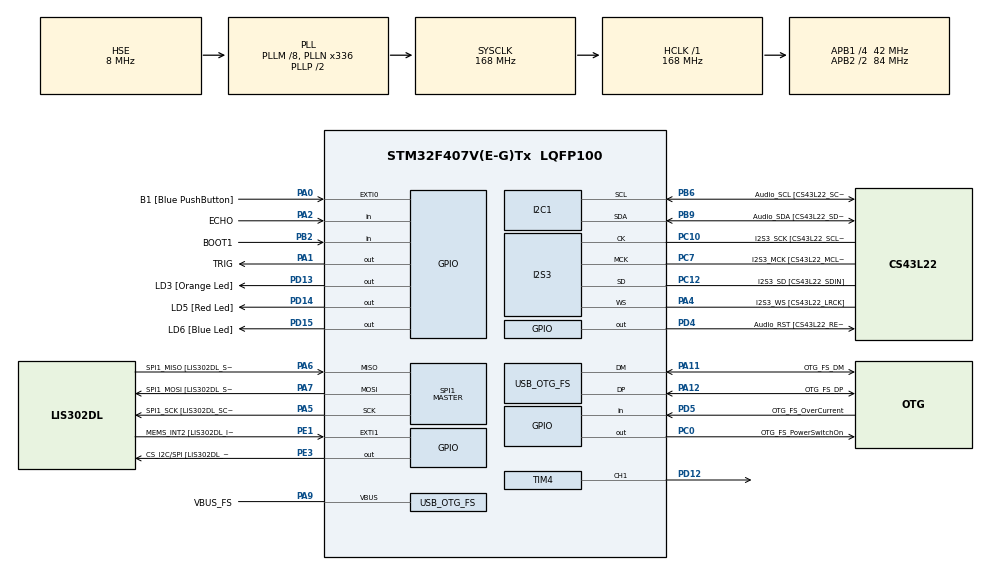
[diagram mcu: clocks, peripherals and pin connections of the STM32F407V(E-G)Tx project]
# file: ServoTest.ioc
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I2S3.AudioFreq-Half_Duplex_Master=I2S_AUDIOFREQ_96K
I2S3.ErrorAudioFreq=-2.34 %
I2S3.ErrorAudioFreq-Half_Duplex_Master=0.8 %
I2S3.FullDuplexMode=I2S_FULLDUPLEXMODE_DISABLE
I2S3.Instance=SPI$Index
I2S3.RealAudioFreq=93.75 KHz
I2S3.RealAudioFreq-Half_Duplex_Master=96.774 KHz
I2S3.VirtualMode=I2S_MODE_MASTER
Mcu.Family=STM32F4
Mcu.Name=STM32F407V(E-G)Tx
Mcu.Package=LQFP100
NVIC.OTG_FS_IRQn=true\:0\:0\:false\:false\:true\:true\:true\:true
NVIC.PriorityGroup=NVIC_PRIORITYGROUP_0
PA0-WKUP.GPIO_Label=B1 [Blue PushButton]
PA0-WKUP.GPIO_ModeDefaultEXTI=GPIO_MODE_EVT_RISING
PA0-WKUP.GPIO_PuPd=GPIO_NOPULL
PA0-WKUP.Signal=GPXTI0
PA1.GPIO_Label=TRIG
PA1.Signal=GPIO_Output
PA10.GPIO_Label=OTG_FS_ID
PA10.GPIO_Mode=GPIO_MODE_AF_PP
PA10.GPIO_PuPd=GPIO_NOPULL
PA10.GPIO_Speed=GPIO_SPEED_FREQ_LOW
PA10.Signal=USB_OTG_FS_ID
PA11.GPIO_Label=OTG_FS_DM
PA11.GPIO_Mode=GPIO_MODE_AF_PP
PA11.GPIO_PuPd=GPIO_NOPULL
PA11.GPIO_Speed=GPIO_SPEED_FREQ_LOW
PA11.Mode=Host_Only
PA11.Signal=USB_OTG_FS_DM
PA12.GPIO_Label=OTG_FS_DP
PA12.GPIO_Mode=GPIO_MODE_AF_PP
PA12.GPIO_PuPd=GPIO_NOPULL
PA12.GPIO_Speed=GPIO_SPEED_FREQ_LOW
PA12.Mode=Host_Only
PA12.Signal=USB_OTG_FS_DP
PA13.GPIO_Label=SWDIO
PA13.Mode=Serial_Wire
PA13.Signal=SYS_JTMS-SWDIO
PA14.GPIO_Label=SWCLK
PA14.Mode=Serial_Wire
PA14.Signal=SYS_JTCK-SWCLK
PA2.GPIO_Label=ECHO
PA2.Signal=GPIO_Input
PA4.GPIO_Label=I2S3_WS [CS43L22_LRCK]
PA4.GPIO_Mode=GPIO_MODE_AF_PP
PA4.GPIO_PuPd=GPIO_NOPULL
PA4.GPIO_Speed=GPIO_SPEED_FREQ_LOW
PA4.Mode=Half_Duplex_Master
PA4.Signal=I2S3_WS
PA5.GPIO_Label=SPI1_SCK [LIS302DL_SCL/SPC]
PA5.GPIO_Mode=GPIO_MODE_AF_PP
PA5.GPIO_PuPd=GPIO_NOPULL
PA5.GPIO_Speed=GPIO_SPEED_FREQ_LOW
PA5.Mode=Full_Duplex_Master
PA5.Signal=SPI1_SCK
PA6.GPIO_Label=SPI1_MISO [LIS302DL_SDO]
PA6.GPIO_Mode=GPIO_MODE_AF_PP
PA6.GPIO_PuPd=GPIO_NOPULL
PA6.GPIO_Speed=GPIO_SPEED_FREQ_LOW
PA6.Mode=Full_Duplex_Master
PA6.Signal=SPI1_MISO
PA7.GPIO_Label=SPI1_MOSI [LIS302DL_SDA/SDI/SDO]
PA7.GPIO_Mode=GPIO_MODE_AF_PP
PA7.GPIO_PuPd=GPIO_NOPULL
PA7.GPIO_Speed=GPIO_SPEED_FREQ_LOW
PA7.Mode=Full_Duplex_Master
PA7.Signal=SPI1_MOSI
PA9.GPIO_Label=VBUS_FS
PA9.GPIO_Mode=GPIO_MODE_INPUT
PA9.GPIO_PuPd=GPIO_NOPULL
PA9.Mode=Activate_VBUS
PA9.Signal=USB_OTG_FS_VBUS
PB10.GPIO_Label=CLK_IN [MP45DT02_CLK]
PB10.GPIO_Mode=GPIO_MODE_AF_PP
PB10.GPIO_PuPd=GPIO_NOPULL
PB10.GPIO_Speed=GPIO_SPEED_FREQ_LOW
PB10.Signal=I2S2_CK
PB2.GPIO_Label=BOOT1
PB2.GPIO_Mode=GPIO_MODE_INPUT
PB2.GPIO_PuPd=GPIO_NOPULL
PB2.Signal=GPIO_Input
PB3.GPIO_Label=SWO
PB3.Signal=SYS_JTDO-SWO
PB6.GPIO_Label=Audio_SCL [CS43L22_SCL]
PB6.GPIO_Mode=GPIO_MODE_AF_OD
PB6.GPIO_Pu=GPIO_PULLUP
PB6.GPIO_PuPd=GPIO_NOPULL
PB6.GPIO_Speed=GPIO_SPEED_FREQ_LOW
PB6.Mode=I2C
PB6.Signal=I2C1_SCL
PB9.GPIO_Label=Audio_SDA [CS43L22_SDA]
PB9.GPIO_Mode=GPIO_MODE_AF_OD
PB9.GPIO_Pu=GPIO_PULLUP
PB9.GPIO_PuPd=GPIO_NOPULL
PB9.GPIO_Speed=GPIO_SPEED_FREQ_LOW
PB9.Mode=I2C
PB9.Signal=I2C1_SDA
PC0.GPIO_Label=OTG_FS_PowerSwitchOn
PC0.GPIO_PuPd=GPIO_NOPULL
PC0.GPIO_Speed=GPIO_SPEED_FREQ_LOW
PC0.PinState=GPIO_PIN_SET
PC0.Signal=GPIO_Output
PC10.GPIO_Label=I2S3_SCK [CS43L22_SCLK]
PC10.GPIO_Mode=GPIO_MODE_AF_PP
PC10.GPIO_PuPd=GPIO_NOPULL
PC10.GPIO_Speed=GPIO_SPEED_FREQ_LOW
PC10.Mode=Half_Duplex_Master
PC10.Signal=I2S3_CK
PC12.GPIO_Label=I2S3_SD [CS43L22_SDIN]
PC12.GPIO_Mode=GPIO_MODE_AF_PP
PC12.GPIO_PuPd=GPIO_NOPULL
PC12.GPIO_Speed=GPIO_SPEED_FREQ_LOW
PC12.Mode=Half_Duplex_Master
PC12.Signal=I2S3_SD
PC14-OSC32_IN.GPIO_Label=PC14-OSC32_IN
PC14-OSC32_IN.Mode=LSE-External-Oscillator
PC14-OSC32_IN.Signal=RCC_OSC32_IN
PC15-OSC32_OUT.GPIO_Label=PC15-OSC32_OUT
PC15-OSC32_OUT.Mode=LSE-External-Oscillator
PC15-OSC32_OUT.Signal=RCC_OSC32_OUT
PC3.GPIO_Label=PDM_OUT [MP45DT02_DOUT]
PC3.GPIO_Mode=GPIO_MODE_AF_PP
PC3.GPIO_PuPd=GPIO_NOPULL
PC3.GPIO_Speed=GPIO_SPEED_FREQ_LOW
PC3.Signal=I2S2_SD
PC7.GPIO_Label=I2S3_MCK [CS43L22_MCLK]
PC7.GPIO_Mode=GPIO_MODE_AF_PP
PC7.GPIO_PuPd=GPIO_NOPULL
PC7.GPIO_Speed=GPIO_SPEED_FREQ_LOW
PC7.Mode=Master_Clock_Activated
PC7.Signal=I2S3_MCK
PD12.Signal=S_TIM4_CH1
PD13.GPIO_Label=LD3 [Orange Led]
PD13.GPIO_PuPd=GPIO_NOPULL
PD13.GPIO_Speed=GPIO_SPEED_FREQ_LOW
PD13.Signal=GPIO_Output
PD14.GPIO_Label=LD5 [Red Led]
PD14.GPIO_PuPd=GPIO_NOPULL
PD14.GPIO_Speed=GPIO_SPEED_FREQ_LOW
PD14.Signal=GPIO_Output
PD15.GPIO_Label=LD6 [Blue Led]
PD15.GPIO_PuPd=GPIO_NOPULL
PD15.GPIO_Speed=GPIO_SPEED_FREQ_LOW
PD15.Signal=GPIO_Output
PD4.GPIO_Label=Audio_RST [CS43L22_RESET]
PD4.GPIO_PuPd=GPIO_NOPULL
PD4.GPIO_Speed=GPIO_SPEED_FREQ_LOW
PD4.Signal=GPIO_Output
PD5.GPIO_Label=OTG_FS_OverCurrent
PD5.GPIO_Mode=GPIO_MODE_INPUT
PD5.GPIO_PuPd=GPIO_NOPULL
PD5.Signal=GPIO_Input
PE1.GPIO_Label=MEMS_INT2 [LIS302DL_INT2]
PE1.GPIO_ModeDefaultEXTI=GPIO_MODE_EVT_RISING
PE1.GPIO_PuPd=GPIO_NOPULL
PE1.Signal=GPXTI1
PE3.GPIO_Label=CS_I2C/SPI [LIS302DL_CS_I2C/SPI]
PE3.GPIO_PuPd=GPIO_NOPULL
PE3.GPIO_Speed=GPIO_SPEED_FREQ_LOW
PE3.Signal=GPIO_Output
PH0-OSC_IN.GPIO_Label=PH0-OSC_IN
PH0-OSC_IN.Mode=HSE-External-Oscillator
PH0-OSC_IN.Signal=RCC_OSC_IN
PH1-OSC_OUT.GPIO_Label=PH1-OSC_OUT
PH1-OSC_OUT.Mode=HSE-External-Oscillator
PH1-OSC_OUT.Signal=RCC_OSC_OUT
ProjectManager.HeapSize=0x200
ProjectManager.StackSize=0x400
ProjectManager.TargetToolchain=STM32CubeIDE
RCC.48MHZClocksFreq_Value=48000000
RCC.AHBFreq_Value=168000000
RCC.APB1CLKDivider=RCC_HCLK_DIV4
RCC.APB1Freq_Value=42000000
RCC.APB1TimFreq_Value=84000000
RCC.APB2CLKDivider=RCC_HCLK_DIV2
RCC.APB2Freq_Value=84000000
RCC.APB2TimFreq_Value=168000000
RCC.CortexFreq_Value=168000000
RCC.HCLKFreq_Value=168000000
RCC.HSE_VALUE=8000000
RCC.HSI_VALUE=16000000
RCC.PLLM=8
RCC.PLLN=336
RCC.PLLQ=7
RCC.SYSCLKFreq_VALUE=168000000
RCC.SYSCLKSource=RCC_SYSCLKSOURCE_PLLCLK
RCC.VCOOutputFreq_Value=336000000
SH.S_TIM4_CH1.0=TIM4_CH1,PWM Generation1 CH1
SPI1.BaudRatePrescaler-Full_Duplex_Master=SPI_BAUDRATEPRESCALER_2
SPI1.CalculateBaudRate-Full_Duplex_Master=42.0 MBits/s
SPI1.Direction=SPI_DIRECTION_2LINES
SPI1.Mode=SPI_MODE_MASTER
SPI1.Mode-Full_Duplex_Master=SPI_MODE_MASTER
SPI1.VirtualType=VM_MASTER
TIM3.Prescaler=83
TIM4.Channel-PWM\ Generation1\ CH1=TIM_CHANNEL_1
TIM4.Period=19999
TIM4.Prescaler=83
USB_HOST.BSP.number=1
USB_HOST.USBH_HandleTypeDef-CDC_FS=hUsbHostFS
USB_HOST.VirtualModeFS=Cdc
USB_HOST0.BSP.STBoard=false
USB_HOST0.BSP.api=Unknown
USB_HOST0.BSP.instance=PC0
USB_HOST0.BSP.ip=GPIO
USB_HOST0.BSP.mode=Output
USB_HOST0.BSP.name=Drive_VBUS_FS
USB_HOST0.BSP.solution=PC0
USB_OTG_FS.VirtualMode=Host_Only
USB_OTG_FS.phy_itface=HCD_PHY_EMBEDDED
VP_TIM3_VS_ClockSourceINT.Mode=Internal
VP_TIM4_VS_ClockSourceINT.Mode=Internal
VP_USB_HOST_VS_USB_HOST_CDC_FS.Mode=CDC_FS
board=STM32F407G-DISC1

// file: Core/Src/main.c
/* USER CODE BEGIN Header */
/**
  ******************************************************************************
  * @file           : main.c
  * @brief          : Main program body
  ******************************************************************************
  * @attention
  *
  * Copyright (c) 2026 STMicroelectronics.
  * All rights reserved.
  *
  * This software is licensed under terms that can be found in the LICENSE file
  * in the root directory of this software component.
  * If no LICENSE file comes with this software, it is provided AS-IS.
  *
  ******************************************************************************
  */
/* USER CODE END Header */
#include "main.h"
#include "usb_host.h"

I2C_HandleTypeDef hi2c1;

I2S_HandleTypeDef hi2s3;

SPI_HandleTypeDef hspi1;

TIM_HandleTypeDef htim3;
TIM_HandleTypeDef htim4;

/* USER CODE BEGIN PV */

// buradaki pv = private variables. bu bloğun içinde global değişkenler olur.

uint32_t sure = 0;		//(u- unsigned, int, 32_t - işlemciye 32 bitlik = 4 byte yer ayır deriz(ms cinsinden old. için büyük yer ayırttık.)).

volatile uint16_t mesafe = 0; // volatile = her an değişebilir demek.

//volatile yazılmasaydı compiler, değişkeni cpu registerında tutar, ram e yazmaz.
//sensor mesafeyi hesaplar, registerdaki değer güncellenir ama ram e yazılmadığı için live exp. hep 0 görünür.

/* USER CODE END PV */

void SystemClock_Config(void);
static void MX_GPIO_Init(void);
static void MX_I2C1_Init(void);
static void MX_I2S3_Init(void);
static void MX_SPI1_Init(void);
static void MX_TIM4_Init(void);
static void MX_TIM3_Init(void);
void MX_USB_HOST_Process(void);

/* USER CODE BEGIN 0 */

#include <stdio.h> //prinf kullanabilmek için

int _write(int file, char *ptr, int len) { // override ediyor.
	//normalde printf yazıyı sadece formatlar ama yazıyı ekrana basamaz
	//bunun için arka planda _write isimli çok alt seviye bir komutunu çağırır.
	//char *ptr = gönderilecek karakter dizisinin hafızadaki başlangıç adresini tutar. (pointer)
	//len = gönderilecek yazının kaç harf (byte) old. tutar.

	for(int i = 0; i < len; i++) {
		ITM_SendChar((*ptr++));
		// donanımsal debug modülünün komutu, veriyi st-link kablosu üzerinden cube ide konsoluna fırlatır
		//kelime bitene kadar pointerdaki adresteki harfi alır gönderir ve sonra sonraki harfe geçer.
	}
	return len; // len kadar karakter başarıyla gönderildi demek
}

void delay_us (uint16_t us) //direkt HAL_Delay(1); yazılsa bile çok uzun sürer ondan mikrosaniye cinsinden
{
    __HAL_TIM_SET_COUNTER(&htim3, 0); // kronometreyi sıfırla
    while (__HAL_TIM_GET_COUNTER(&htim3) < us); // istenen süre kadar bekle (şart bozulunca döngüden çıkar)
}

/* USER CODE END 0 */

int main(void)
{

  /* MCU Configuration--------------------------------------------------------*/

  /* Reset of all peripherals, Initializes the Flash interface and the Systick. */
  HAL_Init();

  /* Configure the system clock */
  SystemClock_Config();

  /* Initialize all configured peripherals */
  MX_GPIO_Init();
  MX_I2C1_Init();
  MX_I2S3_Init();
  MX_SPI1_Init();
  MX_USB_HOST_Init();
  MX_TIM4_Init();
  MX_TIM3_Init();

  /* USER CODE BEGIN 2 */

  //tim4  ch1 - servoya bağlı pd12 pini
  HAL_TIM_PWM_Start(&htim4, TIM_CHANNEL_1); // TIM4'un 1. kanalından PWM sinyalini baslat

  // pulse width = 1500 (1500 mikro saniye = 1.5 ms iken motor 90 derecede olur = tam ortası)
  __HAL_TIM_SET_COMPARE(&htim4, TIM_CHANNEL_1, 1500); // motora başlangıç noktasına gitmesi söylenir.
  HAL_Delay(1000); // oraya gitmesi ve beklemesi için 1 saniye zaman tanı

  HAL_TIM_Base_Start(&htim3);               // ms kronometresi çalışmaya hazır
  // bu base start komutunu en başta çalıştırmazsak kronometre uykuda kalır.
  // arkaplanda rcc = reset and clock control, clock enable bit = 1 (enerji artık timer3 e ulaşır.)
  // enerji geldikten sonra hemen saymaya başlamaz, başlatan fiziksel tetik:
  // timer3'ün içindeki cr1 (control register1)'in içindeki cen(counter enable) bitini 0dan 1e çeker.

  /* USER CODE END 2 */

  /* Infinite loop */
  /* USER CODE BEGIN WHILE */

    int aci = 0;

    uint32_t zaman_asimi = 0; // dongu sonsuza kadar kilitlenmesin diye güvenlik için

  while (1)
  {

/*
	  // Sadece servoya git-gel hareketi yaptırmak için:

	  // motoru yaklaşık 45 dereceden 135 dereceye (1000'den 2000'e) (güvenli sınırlar) dogru tarat => tepe sinyali 0.5 ms ise 0 derece; tepe sinyali 1.5 ms ise 90 derece; tepe sinyali 2.5 ms ise 180 derece;
	  	  for ( aci = 500; aci <= 2500; aci += 20)
	  	  {
	  		  __HAL_TIM_SET_COMPARE(&htim4, TIM_CHANNEL_1, aci); // motora aci degerini gonder
	  		  HAL_Delay(30); // hareketin tamamlanmasi icin kisa bir sure bekle (hizi belirler)
	  	  }

	  	  HAL_Delay(500); // 180 dereceye ulasınca yarım saniye bekle

	  	  // Motoru 180 dereceden 0 dereceye dogru geri tarat
	  	  for ( aci = 2500; aci >= 500; aci -= 20)
	  	  {
	  		  __HAL_TIM_SET_COMPARE(&htim4, TIM_CHANNEL_1, aci); // motora aci degerini gonder
	  		  HAL_Delay(30);
	  	  }

	  	  HAL_Delay(500); // 0 dereceye ulasinca yarim saniye bekle
*/

	  /*

	  ///Ultrasonik sensörden veri alabilmek için (Motor sabitken/kilitli.):

      __HAL_TIM_SET_COMPARE(&htim4, TIM_CHANNEL_1, 1500); // motoru merkezde kilitli tut
      // sensörü tetikleme = kare dalga biçimi için (kare dalga olmasaydı sensor kendi yankısıyla eski yankıları karıştırırdı.):
	  HAL_GPIO_WritePin(TRIG_GPIO_Port, TRIG_Pin, GPIO_PIN_SET); // elektiriği aç
	  delay_us(10);												// 10 ms açık tut
	  HAL_GPIO_WritePin(TRIG_GPIO_Port, TRIG_Pin, GPIO_PIN_RESET); // elektriği kes

	  while (HAL_GPIO_ReadPin(ECHO_GPIO_Port, ECHO_Pin) == GPIO_PIN_RESET) { // sinyalin 1 olmasının yani echonun başlamasını bekle

	  	zaman_asimi++;
	       	if (zaman_asimi > 500000) break; // sinyalin uzun süre gelmemesi durumu (güvenlik kilidi gibi düşün)
        	}

	        if (zaman_asimi <= 500000) { //sinyal zaman asımsız basarıyla geldiyse

	        	__HAL_TIM_SET_COUNTER(&htim3, 0); //kronometreyi sıfırla

				zaman_asimi = 0;

				while(HAL_GPIO_ReadPin(ECHO_GPIO_Port, ECHO_Pin) == GPIO_PIN_SET) {
					zaman_asimi++;
					if(zaman_asimi > 500000) break;
				}

			sure = __HAL_TIM_GET_COUNTER(&htim3);
			mesafe = sure * 0.0343 / 2; //cm olarak hesaplama formulu (ses hızına göre)

	        } else {
	        	mesafe = 999; // sinyal hiç gelmedi hatası (direkt donmasındansa 999 yazdırsın ki ne olduğunu anlayabilelim.)
	        }

	        printf("Mesafe : %d cm\r\n", mesafe); //SWV konsoluna yazdırmak için.
	        HAL_Delay(200);

*/

	  // Servo 0-180 arasını git-gel şeklinde tararken ultrasonikten veri alma ve yazdırma:

	  for (aci = 0; aci<= 180; aci +=90) { //ileri tarama!!!!! 0dan 180e

		  //motoru yeni açıyla gönder
		  uint32_t pwm_value = 500+ (aci * 2000) / 180;
		  __HAL_TIM_SET_COMPARE(&htim4, TIM_CHANNEL_1, pwm_value);

		  HAL_Delay(500); //motorun fiziksel olarak hedefe varması için bekle

		  //yukarıda yazdığım ultrasonik sensor kodunun aynısı:

	      	  	  	// sensörü tetikleme = kare dalga biçimi için (kare dalga olmasaydı sensor kendi yankısıyla eski yankıları karıştırırdı.):
		 	        HAL_GPIO_WritePin(TRIG_GPIO_Port, TRIG_Pin, GPIO_PIN_SET); // elektiriği aç
		 	        delay_us(10);												// 10 ms açık tut
		 	        HAL_GPIO_WritePin(TRIG_GPIO_Port, TRIG_Pin, GPIO_PIN_RESET); // elektriği kes

		 	        while (HAL_GPIO_ReadPin(ECHO_GPIO_Port, ECHO_Pin) == GPIO_PIN_RESET) { // sinyalin 1 olmasının yani echonun başlamasını bekle

		 	        	zaman_asimi++;
		 	        	if (zaman_asimi > 500000) break; // sinyalin uzun süre gelmemesi durumu

		 	        }

		 	        if (zaman_asimi <= 500000) { //sinyal zaman asımsız basarıyla geldiyse

		 	        	__HAL_TIM_SET_COUNTER(&htim3, 0); //kronometreyi sıfırla

		 				zaman_asimi = 0;

		 				while(HAL_GPIO_ReadPin(ECHO_GPIO_Port, ECHO_Pin) == GPIO_PIN_SET) {
		 					zaman_asimi++;
		 					if(zaman_asimi > 500000) break;
		 				}

		 				sure = __HAL_TIM_GET_COUNTER(&htim3); // süre kaç onu al
		 				mesafe = sure * 0.0343 / 2; //cm olarak
		 	        } else {
		 	        	mesafe = 999; // sinyal hiç gelmedi hatası
		 	        }

		 	        printf("<Aci: %d, Mesafe: %d>\r\n", aci, mesafe);

	  }

	  for (aci = 180; aci >= 0; aci -= 90) { //geri taramak için!!!!! 180den 0a

		  //motoru yeni açıyla gönder
		  uint32_t pwm_value = 500 + (aci *2000) /180;
		  __HAL_TIM_SET_COMPARE(&htim4, TIM_CHANNEL_1, pwm_value);

		  HAL_Delay(500); // motorun hedefe varması için bekle

		  //sensör kodumuz (geriye dönerken de aynı, for döngüsünün içinde olduğundan tekrar yazıyorum.)

		  // sensoru tetikle // kare dalga biçiimi için
		  		 	        HAL_GPIO_WritePin(TRIG_GPIO_Port, TRIG_Pin, GPIO_PIN_SET); // elektiriği aç
		  		 	        delay_us(10);												// 10 ms açık tut
		  		 	        HAL_GPIO_WritePin(TRIG_GPIO_Port, TRIG_Pin, GPIO_PIN_RESET); // elektriği kes

		  		 	        while (HAL_GPIO_ReadPin(ECHO_GPIO_Port, ECHO_Pin) == GPIO_PIN_RESET) { // sinyalin 1 olmasının yani echonun başlamasını bekle

		  		 	        	zaman_asimi++;
		  		 	        	if (zaman_asimi > 500000) break; // sinyalin uzun süre gelmemesi durumu

		  		 	        }

		  		 	        if (zaman_asimi <= 500000) { //sinyal zaman asımsız basarıyla geldiyse

		  		 	        	__HAL_TIM_SET_COUNTER(&htim3, 0); //kronometreyi sıfırla

		  		 				zaman_asimi = 0; // ikinci döngü için güvenlik sayacını sıfırla

		  		 				while(HAL_GPIO_ReadPin(ECHO_GPIO_Port, ECHO_Pin) == GPIO_PIN_SET) {
		  		 				// sensor sesin geri donmesini beklerken echo pinini 1de (set) tutar
		  		 				// ses cisme çarpıp senore geri dondugu an pin 0a düşer.
		  		 				// echo pini 1 old. sürece = ses havadayken burada bekle, 0 oldugu an donguden cıkarız.
		  		 					zaman_asimi++;
		  		 					if(zaman_asimi > 500000) break;
		  		 					}

		  		 					sure = __HAL_TIM_GET_COUNTER(&htim3);
		  		 					mesafe = sure * 0.0343 / 2; //cm olarak
		  		 	        	} else {
		  		 	        		mesafe = 999; // sinyal hiç gelmedi hatası
		  		 	        	}

		  		 	        printf("<Aci: %d, Mesafe: %d>\r\n", aci, mesafe);

	  }

    /* USER CODE END WHILE */
    MX_USB_HOST_Process();

  }
}

void SystemClock_Config(void)
{
  RCC_OscInitTypeDef RCC_OscInitStruct = {0};
  RCC_ClkInitTypeDef RCC_ClkInitStruct = {0};

  /** Configure the main internal regulator output voltage
  */
  __HAL_RCC_PWR_CLK_ENABLE();
  __HAL_PWR_VOLTAGESCALING_CONFIG(PWR_REGULATOR_VOLTAGE_SCALE1);

  /** Initializes the RCC Oscillators according to the specified parameters
  * in the RCC_OscInitTypeDef structure.
  */
  RCC_OscInitStruct.OscillatorType = RCC_OSCILLATORTYPE_HSE;
  RCC_OscInitStruct.HSEState = RCC_HSE_ON;
  RCC_OscInitStruct.PLL.PLLState = RCC_PLL_ON;
  RCC_OscInitStruct.PLL.PLLSource = RCC_PLLSOURCE_HSE;
  RCC_OscInitStruct.PLL.PLLM = 8;
  RCC_OscInitStruct.PLL.PLLN = 336;
  RCC_OscInitStruct.PLL.PLLP = RCC_PLLP_DIV2;
  RCC_OscInitStruct.PLL.PLLQ = 7;
  if (HAL_RCC_OscConfig(&RCC_OscInitStruct) != HAL_OK)
  {
    Error_Handler();
  }

  /** Initializes the CPU, AHB and APB buses clocks
  */
  RCC_ClkInitStruct.ClockType = RCC_CLOCKTYPE_HCLK|RCC_CLOCKTYPE_SYSCLK
                              |RCC_CLOCKTYPE_PCLK1|RCC_CLOCKTYPE_PCLK2;
  RCC_ClkInitStruct.SYSCLKSource = RCC_SYSCLKSOURCE_PLLCLK;
  RCC_ClkInitStruct.AHBCLKDivider = RCC_SYSCLK_DIV1;
  RCC_ClkInitStruct.APB1CLKDivider = RCC_HCLK_DIV4;
  RCC_ClkInitStruct.APB2CLKDivider = RCC_HCLK_DIV2;

  if (HAL_RCC_ClockConfig(&RCC_ClkInitStruct, FLASH_LATENCY_5) != HAL_OK)
  {
    Error_Handler();
  }
}

static void MX_I2C1_Init(void)
{

  hi2c1.Instance = I2C1;
  hi2c1.Init.ClockSpeed = 100000;
  hi2c1.Init.DutyCycle = I2C_DUTYCYCLE_2;
  hi2c1.Init.OwnAddress1 = 0;
  hi2c1.Init.AddressingMode = I2C_ADDRESSINGMODE_7BIT;
  hi2c1.Init.DualAddressMode = I2C_DUALADDRESS_DISABLE;
  hi2c1.Init.OwnAddress2 = 0;
  hi2c1.Init.GeneralCallMode = I2C_GENERALCALL_DISABLE;
  hi2c1.Init.NoStretchMode = I2C_NOSTRETCH_DISABLE;
  if (HAL_I2C_Init(&hi2c1) != HAL_OK)
  {
    Error_Handler();
  }

}

static void MX_I2S3_Init(void)
{

  hi2s3.Instance = SPI3;
  hi2s3.Init.Mode = I2S_MODE_MASTER_TX;
  hi2s3.Init.Standard = I2S_STANDARD_PHILIPS;
  hi2s3.Init.DataFormat = I2S_DATAFORMAT_16B;
  hi2s3.Init.MCLKOutput = I2S_MCLKOUTPUT_ENABLE;
  hi2s3.Init.AudioFreq = I2S_AUDIOFREQ_96K;
  hi2s3.Init.CPOL = I2S_CPOL_LOW;
  hi2s3.Init.ClockSource = I2S_CLOCK_PLL;
  hi2s3.Init.FullDuplexMode = I2S_FULLDUPLEXMODE_DISABLE;
  if (HAL_I2S_Init(&hi2s3) != HAL_OK)
  {
    Error_Handler();
  }

}

static void MX_SPI1_Init(void)
{

  /* SPI1 parameter configuration*/
  hspi1.Instance = SPI1;
  hspi1.Init.Mode = SPI_MODE_MASTER;
  hspi1.Init.Direction = SPI_DIRECTION_2LINES;
  hspi1.Init.DataSize = SPI_DATASIZE_8BIT;
  hspi1.Init.CLKPolarity = SPI_POLARITY_LOW;
  hspi1.Init.CLKPhase = SPI_PHASE_1EDGE;
  hspi1.Init.NSS = SPI_NSS_SOFT;
  hspi1.Init.BaudRatePrescaler = SPI_BAUDRATEPRESCALER_2;
  hspi1.Init.FirstBit = SPI_FIRSTBIT_MSB;
  hspi1.Init.TIMode = SPI_TIMODE_DISABLE;
  hspi1.Init.CRCCalculation = SPI_CRCCALCULATION_DISABLE;
  hspi1.Init.CRCPolynomial = 10;
  if (HAL_SPI_Init(&hspi1) != HAL_OK)
  {
    Error_Handler();
  }

}

static void MX_TIM3_Init(void)
{

  TIM_ClockConfigTypeDef sClockSourceConfig = {0};
  TIM_MasterConfigTypeDef sMasterConfig = {0};

  htim3.Instance = TIM3;
  htim3.Init.Prescaler = 83;
  htim3.Init.CounterMode = TIM_COUNTERMODE_UP;
  htim3.Init.Period = 65535;
  htim3.Init.ClockDivision = TIM_CLOCKDIVISION_DIV1;
  htim3.Init.AutoReloadPreload = TIM_AUTORELOAD_PRELOAD_DISABLE;
  if (HAL_TIM_Base_Init(&htim3) != HAL_OK)
  {
    Error_Handler();
  }
  sClockSourceConfig.ClockSource = TIM_CLOCKSOURCE_INTERNAL;
  if (HAL_TIM_ConfigClockSource(&htim3, &sClockSourceConfig) != HAL_OK)
  {
    Error_Handler();
  }
  sMasterConfig.MasterOutputTrigger = TIM_TRGO_RESET;
  sMasterConfig.MasterSlaveMode = TIM_MASTERSLAVEMODE_DISABLE;
  if (HAL_TIMEx_MasterConfigSynchronization(&htim3, &sMasterConfig) != HAL_OK)
  {
    Error_Handler();
  }

}

static void MX_TIM4_Init(void)
{

  TIM_ClockConfigTypeDef sClockSourceConfig = {0};
  TIM_MasterConfigTypeDef sMasterConfig = {0};
  TIM_OC_InitTypeDef sConfigOC = {0};

  htim4.Instance = TIM4;
  htim4.Init.Prescaler = 83;
  htim4.Init.CounterMode = TIM_COUNTERMODE_UP;
  htim4.Init.Period = 19999;
  htim4.Init.ClockDivision = TIM_CLOCKDIVISION_DIV1;
  htim4.Init.AutoReloadPreload = TIM_AUTORELOAD_PRELOAD_DISABLE;
  if (HAL_TIM_Base_Init(&htim4) != HAL_OK)
  {
    Error_Handler();
  }
  sClockSourceConfig.ClockSource = TIM_CLOCKSOURCE_INTERNAL;
  if (HAL_TIM_ConfigClockSource(&htim4, &sClockSourceConfig) != HAL_OK)
  {
    Error_Handler();
  }
  if (HAL_TIM_PWM_Init(&htim4) != HAL_OK)
  {
    Error_Handler();
  }
  sMasterConfig.MasterOutputTrigger = TIM_TRGO_RESET;
  sMasterConfig.MasterSlaveMode = TIM_MASTERSLAVEMODE_DISABLE;
  if (HAL_TIMEx_MasterConfigSynchronization(&htim4, &sMasterConfig) != HAL_OK)
  {
    Error_Handler();
  }
  sConfigOC.OCMode = TIM_OCMODE_PWM1;
  sConfigOC.Pulse = 0;
  sConfigOC.OCPolarity = TIM_OCPOLARITY_HIGH;
  sConfigOC.OCFastMode = TIM_OCFAST_DISABLE;
  if (HAL_TIM_PWM_ConfigChannel(&htim4, &sConfigOC, TIM_CHANNEL_1) != HAL_OK)
  {
    Error_Handler();
  }
  HAL_TIM_MspPostInit(&htim4);

}

static void MX_GPIO_Init(void)
{
  GPIO_InitTypeDef GPIO_InitStruct = {0};

  /* GPIO Ports Clock Enable */
  __HAL_RCC_GPIOE_CLK_ENABLE();
  __HAL_RCC_GPIOC_CLK_ENABLE();
  __HAL_RCC_GPIOH_CLK_ENABLE();
  __HAL_RCC_GPIOA_CLK_ENABLE();
  __HAL_RCC_GPIOB_CLK_ENABLE();
  __HAL_RCC_GPIOD_CLK_ENABLE();

  /*Configure GPIO pin Output Level */
  HAL_GPIO_WritePin(CS_I2C_SPI_GPIO_Port, CS_I2C_SPI_Pin, GPIO_PIN_RESET);

  /*Configure GPIO pin Output Level */
  HAL_GPIO_WritePin(OTG_FS_PowerSwitchOn_GPIO_Port, OTG_FS_PowerSwitchOn_Pin, GPIO_PIN_SET);

  /*Configure GPIO pin Output Level */
  HAL_GPIO_WritePin(TRIG_GPIO_Port, TRIG_Pin, GPIO_PIN_RESET);

  /*Configure GPIO pin Output Level */
  HAL_GPIO_WritePin(GPIOD, LD3_Pin|LD5_Pin|LD6_Pin|Audio_RST_Pin, GPIO_PIN_RESET);

  /*Configure GPIO pin : CS_I2C_SPI_Pin */
  GPIO_InitStruct.Pin = CS_I2C_SPI_Pin;
  GPIO_InitStruct.Mode = GPIO_MODE_OUTPUT_PP;
  GPIO_InitStruct.Pull = GPIO_NOPULL;
  GPIO_InitStruct.Speed = GPIO_SPEED_FREQ_LOW;
  HAL_GPIO_Init(CS_I2C_SPI_GPIO_Port, &GPIO_InitStruct);

  /*Configure GPIO pin : OTG_FS_PowerSwitchOn_Pin */
  GPIO_InitStruct.Pin = OTG_FS_PowerSwitchOn_Pin;
  GPIO_InitStruct.Mode = GPIO_MODE_OUTPUT_PP;
  GPIO_InitStruct.Pull = GPIO_NOPULL;
  GPIO_InitStruct.Speed = GPIO_SPEED_FREQ_LOW;
  HAL_GPIO_Init(OTG_FS_PowerSwitchOn_GPIO_Port, &GPIO_InitStruct);

  /*Configure GPIO pin : PDM_OUT_Pin */
  GPIO_InitStruct.Pin = PDM_OUT_Pin;
  GPIO_InitStruct.Mode = GPIO_MODE_AF_PP;
  GPIO_InitStruct.Pull = GPIO_NOPULL;
  GPIO_InitStruct.Speed = GPIO_SPEED_FREQ_LOW;
  GPIO_InitStruct.Alternate = GPIO_AF5_SPI2;
  HAL_GPIO_Init(PDM_OUT_GPIO_Port, &GPIO_InitStruct);

  /*Configure GPIO pin : B1_Pin */
  GPIO_InitStruct.Pin = B1_Pin;
  GPIO_InitStruct.Mode = GPIO_MODE_EVT_RISING;
  GPIO_InitStruct.Pull = GPIO_NOPULL;
  HAL_GPIO_Init(B1_GPIO_Port, &GPIO_InitStruct);

  /*Configure GPIO pin : TRIG_Pin */
  GPIO_InitStruct.Pin = TRIG_Pin;
  GPIO_InitStruct.Mode = GPIO_MODE_OUTPUT_PP;
  GPIO_InitStruct.Pull = GPIO_NOPULL;
  GPIO_InitStruct.Speed = GPIO_SPEED_FREQ_LOW;
  HAL_GPIO_Init(TRIG_GPIO_Port, &GPIO_InitStruct);

  /*Configure GPIO pin : ECHO_Pin */
  GPIO_InitStruct.Pin = ECHO_Pin;
  GPIO_InitStruct.Mode = GPIO_MODE_INPUT;
  GPIO_InitStruct.Pull = GPIO_NOPULL;
  HAL_GPIO_Init(ECHO_GPIO_Port, &GPIO_InitStruct);

  /*Configure GPIO pin : BOOT1_Pin */
  GPIO_InitStruct.Pin = BOOT1_Pin;
  GPIO_InitStruct.Mode = GPIO_MODE_INPUT;
  GPIO_InitStruct.Pull = GPIO_NOPULL;
  HAL_GPIO_Init(BOOT1_GPIO_Port, &GPIO_InitStruct);

  /*Configure GPIO pin : CLK_IN_Pin */
  GPIO_InitStruct.Pin = CLK_IN_Pin;
  GPIO_InitStruct.Mode = GPIO_MODE_AF_PP;
  GPIO_InitStruct.Pull = GPIO_NOPULL;
  GPIO_InitStruct.Speed = GPIO_SPEED_FREQ_LOW;
  GPIO_InitStruct.Alternate = GPIO_AF5_SPI2;
  HAL_GPIO_Init(CLK_IN_GPIO_Port, &GPIO_InitStruct);

  /*Configure GPIO pins : LD3_Pin LD5_Pin LD6_Pin Audio_RST_Pin */
  GPIO_InitStruct.Pin = LD3_Pin|LD5_Pin|LD6_Pin|Audio_RST_Pin;
  GPIO_InitStruct.Mode = GPIO_MODE_OUTPUT_PP;
  GPIO_InitStruct.Pull = GPIO_NOPULL;
  GPIO_InitStruct.Speed = GPIO_SPEED_FREQ_LOW;
  HAL_GPIO_Init(GPIOD, &GPIO_InitStruct);

  /*Configure GPIO pin : OTG_FS_OverCurrent_Pin */
  GPIO_InitStruct.Pin = OTG_FS_OverCurrent_Pin;
  GPIO_InitStruct.Mode = GPIO_MODE_INPUT;
  GPIO_InitStruct.Pull = GPIO_NOPULL;
  HAL_GPIO_Init(OTG_FS_OverCurrent_GPIO_Port, &GPIO_InitStruct);

  /*Configure GPIO pin : MEMS_INT2_Pin */
  GPIO_InitStruct.Pin = MEMS_INT2_Pin;
  GPIO_InitStruct.Mode = GPIO_MODE_EVT_RISING;
  GPIO_InitStruct.Pull = GPIO_NOPULL;
  HAL_GPIO_Init(MEMS_INT2_GPIO_Port, &GPIO_InitStruct);

}

void Error_Handler(void)
{
  __disable_irq();
  while (1)
  {
  }
}
